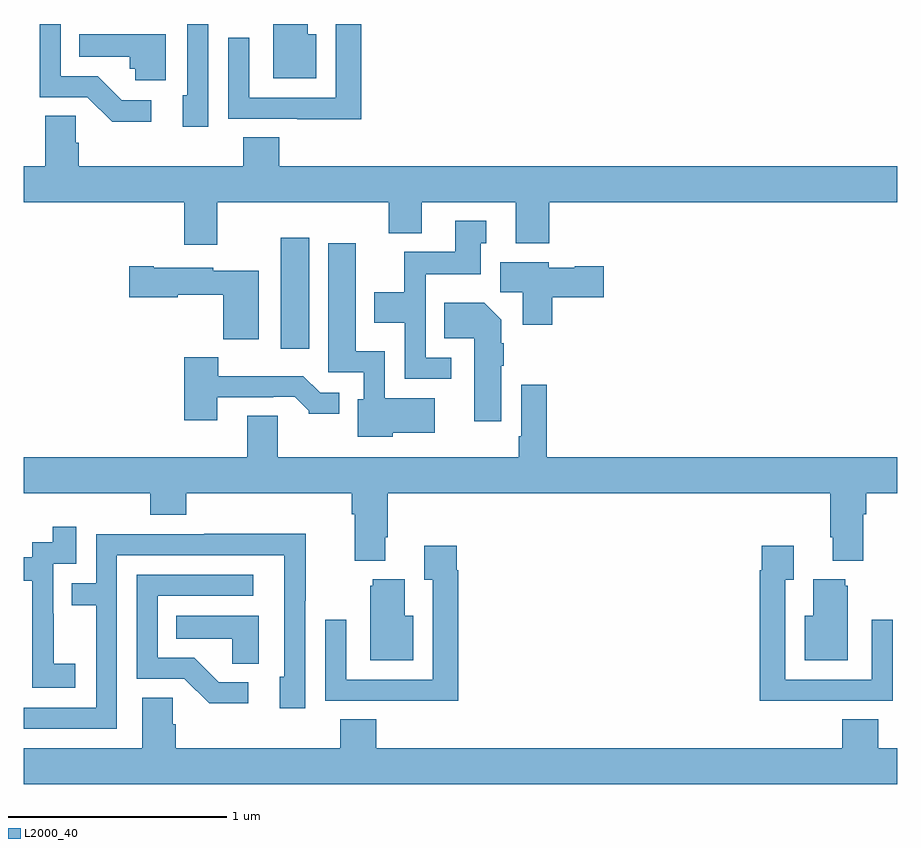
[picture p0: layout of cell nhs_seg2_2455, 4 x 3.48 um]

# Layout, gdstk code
import gdstk
lib = gdstk.Library(unit=1e-6, precision=1e-09)
def R(c, l, rs):  # rectangles x0, y0, x1, y1
    for r in rs: c.add(gdstk.rectangle(r[:2], r[2:], *l))
def P(c, l, *ps):  # polygons
    for p in ps: c.add(gdstk.Polygon(p, *l))
L2000_40 = (2000, 40)

nhs_seg2_2455 = lib.new_cell('nhs_seg2_2455')
R(nhs_seg2_2455, L2000_40, [(240.176,632.313,240.307,632.821)])
P(nhs_seg2_2455, L2000_40, [(239.844,633.8),(239.748,633.8),(239.748,633.474),(239.729,633.474),(239.729,633.33),(239.844,633.33)],
  [(239.584,633.45),(239.449,633.45),(239.338,633.561),(239.169,633.561),(239.169,633.8),(239.073,633.8),(239.073,633.465),(239.292,633.465),(239.405,633.353),(239.584,633.353)],
  [(240.34,633.754),(240.301,633.754),(240.301,633.8),(240.143,633.8),(240.143,633.551),(240.34,633.551)],
  [(240.545,633.8),(240.429,633.8),(240.429,633.462),(240.033,633.462),(240.033,633.736),(239.937,633.736),(239.937,633.366),(240.253,633.366),(240.253,633.365),(240.545,633.365)],
  [(239.65,633.754),(239.254,633.754),(239.254,633.65),(239.485,633.65),(239.485,633.594),(239.511,633.594),(239.511,633.542),(239.65,633.542)],
  [(239.887,632.984),(240.671,632.984),(240.671,632.843),(240.823,632.843),(240.823,632.984),(241.253,632.984),(241.253,632.795),(241.406,632.795),(241.406,632.984),(243,632.984),(243,633.148),(240.17,633.148),(240.17,633.281),(240.005,633.281),(240.005,633.148),(239.252,633.148),(239.252,633.257),(239.238,633.257),(239.238,633.38),(239.099,633.38),(239.099,633.148),(239,633.148),(239,632.984),(239.735,632.984),(239.735,632.79),(239.887,632.79)],
  [(240.958,632.271),(240.84,632.271),(240.84,632.654),(241.093,632.654),(241.093,632.796),(241.117,632.796),(241.117,632.899),(240.977,632.899),(240.977,632.758),(240.742,632.758),(240.742,632.572),(240.605,632.572),(240.605,632.432),(240.744,632.432),(240.744,632.175),(240.958,632.175)],
  [(240.69,631.928),(240.883,631.928),(240.883,632.086),(240.654,632.086),(240.654,632.302),(240.52,632.302),(240.52,632.797),(240.395,632.797),(240.395,632.205),(240.558,632.205),(240.558,632.082),(240.53,632.082),(240.53,631.91),(240.69,631.91)],
  [(241.421,632.549),(241.657,632.549),(241.657,632.691),(241.524,632.691),(241.524,632.683),(241.404,632.683),(241.404,632.71),(241.181,632.71),(241.181,632.572),(241.286,632.572),(241.286,632.424),(241.421,632.424)],
  [(240.076,632.671),(239.868,632.671),(239.868,632.683),(239.596,632.683),(239.596,632.691),(239.484,632.691),(239.484,632.549),(239.706,632.549),(239.706,632.561),(239.914,632.561),(239.914,632.357),(240.076,632.357)],
  [(241.186,632.236),(241.199,632.236),(241.199,632.339),(241.186,632.339),(241.186,632.446),(241.108,632.524),(240.925,632.524),(240.925,632.36),(241.064,632.36),(241.064,631.98),(241.186,631.98)],
  [(239.887,632.091),(240.143,632.091),(240.143,632.094),(240.242,632.094),(240.306,632.03),(240.306,632.015),(240.445,632.015),(240.445,632.112),(240.357,632.112),(240.281,632.188),(239.89,632.188),(239.89,632.275),(239.735,632.275),(239.735,631.986),(239.887,631.986)],
  [(240.655,631.45),(240.668,631.45),(240.668,631.652),(242.693,631.652),(242.693,631.45),(242.705,631.45),(242.705,631.343),(242.845,631.343),(242.845,631.556),(242.858,631.556),(242.858,631.652),(243,631.652),(243,631.816),(241.394,631.816),(241.394,632.149),(241.278,632.149),(241.278,631.912),(241.266,631.912),(241.266,631.816),(240.163,631.816),(240.163,632.006),(240.023,632.006),(240.023,631.816),(239,631.816),(239,631.652),(239.579,631.652),(239.579,631.553),(239.744,631.553),(239.744,631.652),(240.503,631.652),(240.503,631.556),(240.515,631.556),(240.515,631.343),(240.655,631.343)],
  [(239.236,630.871),(239.138,630.871),(239.138,631.1),(239.136,631.1),(239.136,631.329),(239.241,631.329),(239.241,631.498),(239.133,631.498),(239.133,631.428),(239.04,631.428),(239.04,631.359),(239,631.359),(239,631.251),(239.039,631.251),(239.039,630.967),(239.038,630.967),(239.038,630.761),(239.236,630.761)],
  [(239.427,631.368),(240.192,631.368),(240.192,630.81),(240.173,630.81),(240.173,630.666),(240.288,630.666),(240.288,631.159),(240.291,631.159),(240.291,631.466),(239.827,631.466),(239.827,631.464),(239.331,631.464),(239.331,631.239),(239.221,631.239),(239.221,631.138),(239.331,631.138),(239.331,630.669),(239,630.669),(239,630.573),(239.427,630.573)],
  [(240.989,631.298),(240.982,631.298),(240.982,631.411),(240.833,631.411),(240.833,631.255),(240.873,631.255),(240.873,630.798),(240.477,630.798),(240.477,631.072),(240.381,631.072),(240.381,630.702),(240.697,630.702),(240.697,630.701),(240.989,630.701)],
  [(242.663,630.702),(242.979,630.702),(242.979,631.072),(242.883,631.072),(242.883,630.798),(242.487,630.798),(242.487,631.255),(242.527,631.255),(242.527,631.411),(242.379,631.411),(242.379,631.298),(242.371,631.298),(242.371,630.701),(242.663,630.701)],
  [(240.028,630.786),(239.893,630.786),(239.782,630.897),(239.613,630.897),(239.613,631.182),(240.052,631.182),(240.052,631.278),(239.517,631.278),(239.517,630.801),(239.736,630.801),(239.849,630.689),(240.028,630.689)],
  [(242.773,631.227),(242.762,631.227),(242.762,631.258),(242.615,631.258),(242.615,631.09),(242.576,631.09),(242.576,630.887),(242.773,630.887)],
  [(240.784,631.09),(240.745,631.09),(240.745,631.258),(240.599,631.258),(240.599,631.227),(240.587,631.227),(240.587,630.887),(240.784,630.887)],
  [(240.076,631.09),(239.698,631.09),(239.698,630.986),(239.955,630.986),(239.955,630.871),(240.076,630.871)],
  [(243,630.484),(242.912,630.484),(242.912,630.617),(242.747,630.617),(242.747,630.484),(240.614,630.484),(240.614,630.617),(240.449,630.617),(240.449,630.484),(239.696,630.484),(239.696,630.593),(239.682,630.593),(239.682,630.716),(239.543,630.716),(239.543,630.484),(239,630.484),(239,630.32),(243,630.32)])

lib.write_gds('nhs_seg2_2455.gds')
